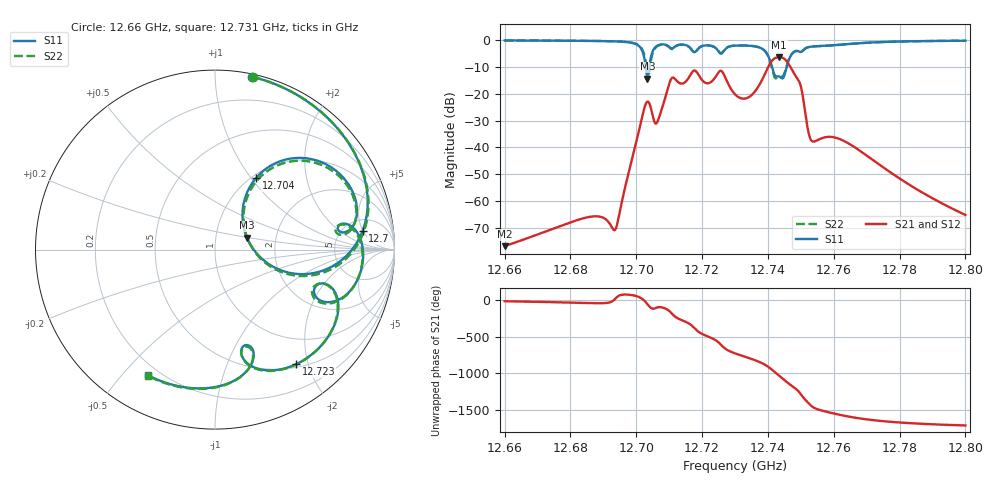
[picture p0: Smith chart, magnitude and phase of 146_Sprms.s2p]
! TOUCHSTONE file generated by CST MICROWAVE STUDIO
! Date and time: Wed Jul 31 18:11:52 2024
! Project name: WaveGuide_BPF-Ver4.1_U-shape_Ku_T3_C4_CWA_2.cst
! Parameters = {cavity_h=16; cavity_l0=10; cavity_l1=15.1786; cavity_l2=16.8119; cavity_l3=17.1443; cavity_l4=17.2502; cavity_l5=17.1511; cavity_l6=17.5911; cavity_r=2.5; cavity_screw_l=0.5; cavity_screw_r=1.5; cavity_w=8; iris_h00=0; iris_h01=8.8071; iris_h112=0; iris_h12=5.5961; iris_h211=3.6562; 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
! Header version: 2018
! Port assignment regex: !\s*Touchstone port\s*([0-9]+)\s*=\s*(CST MWS port|CST DS port)\s*([0-9]+|Zmin|Zmax)\s*\(\"(.*)\"\)(\s*mode\s*([0-9]+))?.*
! Touchstone port assignment:
! Touchstone port 1 = CST MWS port 1 ("")
! Touchstone port 2 = CST MWS port 2 ("")
# GHz S RI R 50
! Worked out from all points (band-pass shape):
!   5001 points, 12.66 GHz to 12.8 GHz, reference 50 ohm
!   highest |S21| = -6.38 dB at 12.743 GHz (marker M1); lowest = -76.9 dB at 12.66 GHz (marker M2)
!   |S21| within 3 dB of the highest: 12.74038 GHz to 12.74652 GHz (6.136 MHz wide, 0.0482 % of centre)
!   lowest |S11| = -14.4 dB at 12.703 GHz (marker M3), VSWR 1.47, Z = 70.9 + j9.8 ohm
!   |S11| at or under -10 dB: 12.70287 GHz to 12.70395 GHz (1.081 MHz wide, 0.00851 % of centre); 12.74123 GHz to 12.74569 GHz (4.466 MHz wide, 0.035 % of centre)
!   |S22| runs from -14.4 to -0.1 dB; largest |S21 - S12| = 1e-09
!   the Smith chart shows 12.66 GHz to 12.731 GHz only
!   S11 on the Smith chart (normalised r, x): 12.66 GHz: 0.02, +1.24; 12.7 GHz: 7.42, +4.86; 12.704 GHz: 1.05, +1.06; 12.723 GHz: 0.55, -1.81; 12.731 GHz: 0.16, -0.59
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12.66  0.207 0.9627  0.000138 -3.88e-05  0.000138 -3.88e-05  0.2119 0.9616
12.68335  0.5574 0.7943  0.000364 -0.000288  0.000364 -0.000288  0.563 0.7903
12.69363  0.771 0.5489  0.000276 9.06e-05  0.000276 9.06e-05  0.7752 0.5437
12.70015  0.8218 0.1028  0.00823 0.0108  0.00823 0.0108  0.8326 0.1106
12.7034  0.1781 0.0666  0.039 -0.0597  0.039 -0.0597  0.219 -0.00844
12.70438  0.2286 0.3986  -0.0134 -0.0538  -0.0134 -0.0538  0.2003 0.3366
12.70668  0.6682 0.444  -0.00394 -0.0324  -0.00394 -0.0324  0.6563 0.4375
12.71093  0.6844 0.124  -0.1961 0.0317  -0.1961 0.0317  0.6718 0.1155
12.71726  0.5594 -0.259  0.2631 -0.019  0.2631 -0.019  0.5483 -0.2637
12.72269  0.453 -0.6379  -0.1482 -0.0715  -0.1482 -0.0715  0.4511 -0.6409
12.73  -0.2302 -0.7547  0.0968 -0.0117  0.0968 -0.0117  -0.231 -0.7577
12.73098  -0.3732 -0.7002  0.0804 -0.0328  0.0804 -0.0328  -0.3723 -0.7041
12.73557  -0.7638 -0.1109  -0.00364 -0.1014  -0.00364 -0.1014  -0.7636 -0.1234
12.73913  -0.4556 0.428  -0.2252 -0.0698  -0.2252 -0.0698  -0.4591 0.4178
12.74341  -0.153 0.1425  0.3183 0.3592  0.3183 0.3592  -0.173 0.117
12.74641  -0.4178 0.1209  0.1598 -0.3101  0.1598 -0.3101  -0.4321 0.11
12.7498  -0.2012 0.5673  -0.148 0.0322  -0.148 0.0322  -0.2307 0.5617
12.75335  0.3138 0.6899  0.0129 -0.0023  0.0129 -0.0023  0.2843 0.701
12.7585  0.7901 -0.0353  -0.00052 -0.0157  -0.00052 -0.0157  0.7866 -0.0185
12.76475  0.3245 -0.7827  -0.0102 -0.00545  -0.0102 -0.00545  0.321 -0.7819
12.77668  -0.6592 -0.6542  -0.00278 0.00228  -0.00278 0.00228  -0.6673 -0.6463
12.8  -0.9703 0.0826  1.02e-05 0.000548  1.02e-05 0.000548  -0.9699 0.0901
